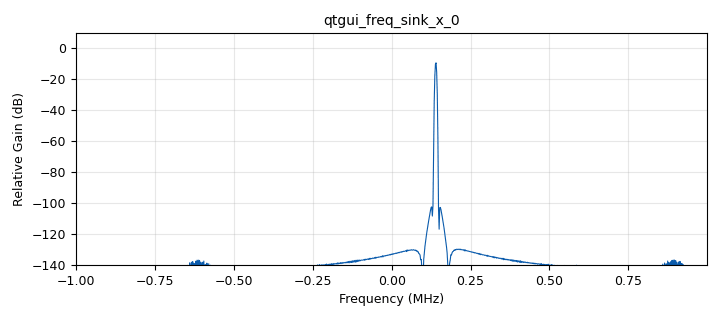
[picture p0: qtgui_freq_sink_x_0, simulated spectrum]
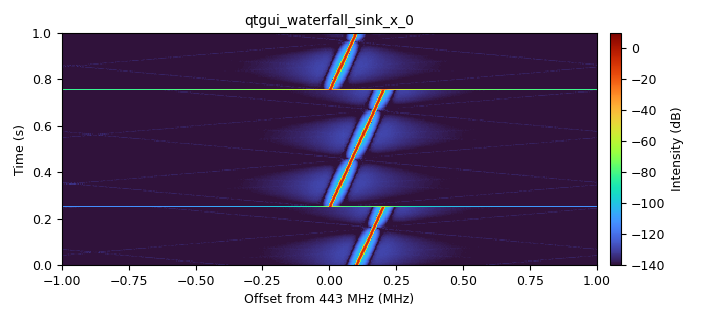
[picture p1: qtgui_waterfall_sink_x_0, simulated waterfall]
options:
  parameters:
    author: rootr
    generate_options: qt_gui
    generator_class_name: PythonQtGuiGenerator
    generator_module: gnuradio.grc.workflows.python_qt_gui
    id: untitled
    output_language: python
    title: tx_sine
  states: {}

blocks:
- name: freq
  id: variable
  parameters:
    value: 443e6
  states: {}
- name: samp_rate
  id: variable
  parameters:
    value: 2e6
  states: {}
- name: sweep_bandwidth
  id: variable
  parameters:
    value: 200e3
  states: {}
- name: tone_freq
  id: variable
  parameters:
    value: 1e3
  states: {}
- name: analog_frequency_modulator_fc_0
  id: analog_frequency_modulator_fc
  parameters:
    sensitivity: 2 * math.pi * sweep_bandwidth / samp_rate
  states: {}
- name: analog_sig_source_x_1
  id: analog_sig_source_x
  parameters:
    amp: '1'
    freq: '2'
    offset: '0'
    phase: '0'
    samp_rate: samp_rate
    type: float
    waveform: analog.GR_SAW_WAVE
  states: {}
- name: iio_pluto_sink_0
  id: iio_pluto_sink
  parameters:
    attenuation1: '10.0'
    bandwidth: '2000000'
    buffer_size: '32768'
    cyclic: 'False'
    filter_source: '''Auto'''
    frequency: int(freq)
    samplerate: int(samp_rate)
    type: fc32
    uri: ip:192.168.1.10
  states: {}
- name: import_0
  id: import
  parameters:
    imports: import math
  states: {}
- name: qtgui_freq_sink_x_0
  id: qtgui_freq_sink_x
  parameters:
    bw: samp_rate
    fc: '0'
    fftsize: '1024'
    type: complex
  states: {}
- name: qtgui_waterfall_sink_x_0
  id: qtgui_waterfall_sink_x
  parameters:
    bw: samp_rate
    fc: freq
    fftsize: '1024'
    type: complex
  states: {}

connections:
- [analog_frequency_modulator_fc_0, '0', iio_pluto_sink_0, '0']
- [analog_frequency_modulator_fc_0, '0', qtgui_freq_sink_x_0, '0']
- [analog_frequency_modulator_fc_0, '0', qtgui_waterfall_sink_x_0, '0']
- [analog_sig_source_x_1, '0', analog_frequency_modulator_fc_0, '0']

metadata:
  file_format: 1
  grc_version: 3.10.12.0
